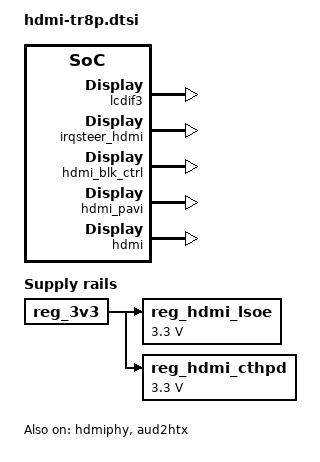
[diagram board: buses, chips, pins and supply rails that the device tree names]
/*
 * Copyright 2020 Keith & Koep GmbH
 *
 */

 /************************************************************************/

#ifndef HDMI_TR8P_DTSI
#define HDMI_TR8P_DTSI 1

/ {
	reg_hdmi_lsoe: rhdmi-lsoe {
		compatible = "regulator-fixed";
		regulator-name = "HDMI LSOE";
		regulator-min-microvolt = <3300000>;
		regulator-max-microvolt = <3300000>;
		pinctrl-names = "default";
		pinctrl-0 = <&pinctrl_hdmi_lsoe>;
		gpio = <spin124_gpio 0>;
		enable-active-high;
		regulator-always-on;
		vin-supply = <&reg_3v3>;
	};
	reg_hdmi_cthpd: rhdmi-cthpd {
		compatible = "regulator-fixed";
		regulator-name = "HDMI CTHPD";
		regulator-min-microvolt = <3300000>;
		regulator-max-microvolt = <3300000>;
		pinctrl-names = "default";
		pinctrl-0 = <&pinctrl_hdmi_cthpd>;
		gpio = <spin188_gpio 0>;
		enable-active-high;
		regulator-always-on;
		vin-supply = <&reg_3v3>;
	};
};

&iomuxc {
	/*
	pinctrl_hog: hoggrp {
		fsl,pins = <
			MX8MP_IOMUXC_HDMI_DDC_SCL__HDMIMIX_HDMI_SCL	0x400001c3
			MX8MP_IOMUXC_HDMI_DDC_SDA__HDMIMIX_HDMI_SDA	0x400001c3
			MX8MP_IOMUXC_HDMI_HPD__HDMIMIX_HDMI_HPD		0x40000019
			MX8MP_IOMUXC_HDMI_CEC__HDMIMIX_HDMI_CEC		0x40000019
		>;
	};
	*/
	pinctrl_hdmi_lsoe: hdmi-lsoe 	{
		fsl,pins = < SPIN124_GPIO	PAD_GPIO >; 
	};
	pinctrl_hdmi_cthpd: hdmi-cthpd 	{
		fsl,pins = < SPIN188_GPIO	PAD_GPIO >; 
	};		
};

&lcdif3 {
	// whatever this meens
	thres-low  = <1 2>;             /* (FIFO * 1 / 2) */
	thres-high = <3 4>;             /* (FIFO * 3 / 4) */
	status = "okay";
};


&irqsteer_hdmi {
	status = "okay";
};

&hdmi_blk_ctrl {
	status = "okay";
};

&hdmi_pavi {
	status = "okay";
};

&hdmi {
	status = "okay";
};

&hdmiphy {
	status = "okay";
};

// HDMI Audio
&aud2htx {
	status = "okay";
};

&sound_hdmi {
	status = "okay";
};

#endif
/************************************************************************/
